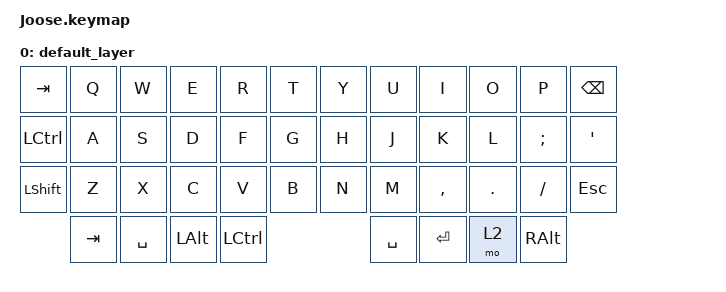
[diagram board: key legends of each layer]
#include <behaviors.dtsi>
#include <dt-bindings/zmk/keys.h>
#include <dt-bindings/zmk/bt.h>

/ {
        keymap {
                compatible = "zmk,keymap";

                default_layer {
// -----------------------------------------------------------------------------------------
// |  TAB |  Q  |  W  |  E  |  R  |  T  |   |  Y  |  U   |  I  |  O  |  P  | BSPC |
// | CTRL |  A  |  S  |  D  |  F  |  G  |   |  H  |  J   |  K  |  L  |  ;  |  '   |
// | SHFT |  Z  |  X  |  C  |  V  |  B  |   |  N  |  M   |  ,  |  .  |  /  | ESC  |
//                    | GUI | LWR | SPC |   | ENT | RSE  | ALT |
                        bindings = <
   &kp TAB   &kp Q &kp W &kp E &kp R &kp T   &kp Y &kp U  &kp I     &kp O   &kp P    &kp BSPC
   &kp LCTRL &kp A &kp S &kp D &kp F &kp G   &kp H &kp J  &kp K     &kp L   &kp SEMI &kp SQT
   &kp LSHFT &kp Z &kp X &kp C &kp V &kp B   &kp N &kp M  &kp COMMA &kp DOT &kp FSLH &kp ESC
             &kp TAB &kp SPACE &kp LALT &kp LCTRL &kp SPACE   &kp RET &mo 2 &kp RALT
                        >;
                };
};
